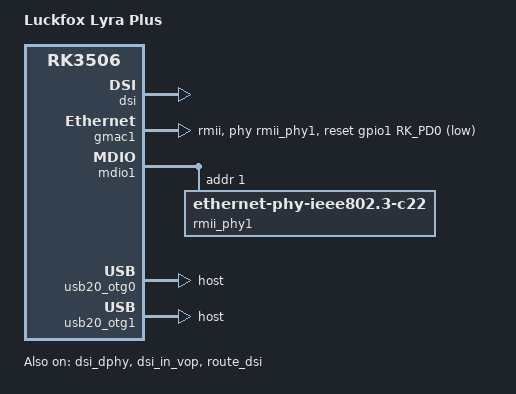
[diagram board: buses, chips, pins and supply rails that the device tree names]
// SPDX-License-Identifier: (GPL-2.0+ OR MIT)
/*
 * Copyright (c) 2024 Rockchip Electronics Co., Ltd.
 */

/dts-v1/;

#include "rk3506-luckfox-lyra.dtsi"

/ {
	model = "Luckfox Lyra Plus";
	compatible = "rockchip,rk3506g-demo-display-control", "rockchip,rk3506";
};

/**********display**********/
&cma {
	size = <0x200000>;
};

&dsi {
	status = "okay";
};

&dsi_dphy {
	status = "okay";
};

&dsi_in_vop {
	status = "okay";
};

&route_dsi {
	status = "okay";
};

/**********ethernet**********/
&gmac1 {
	phy-mode = "rmii";
	clock_in_out = "output";

	snps,reset-gpio = <&gpio1 RK_PD0 GPIO_ACTIVE_LOW>;
	snps,reset-active-low;
	snps,reset-delays-us = <0 20000 100000>;

	pinctrl-names = "default";
	pinctrl-0 = <&eth_rmii1_miim_pins &eth_rmii1_tx_bus2_pins &eth_rmii1_rx_bus2_pins &eth_rmii1_clk_pins>;

	phy-handle = <&rmii_phy1>;
	status = "okay";
};

&mdio1 {
	rmii_phy1: phy@1 {
		compatible = "ethernet-phy-ieee802.3-c22";
		reg = <0x1>;
	};
};

/**********usb**********/
&usb20_otg0 {
	dr_mode = "host";
	status = "okay";
};

&usb20_otg1 {
	dr_mode = "host";
	status = "okay";
};
